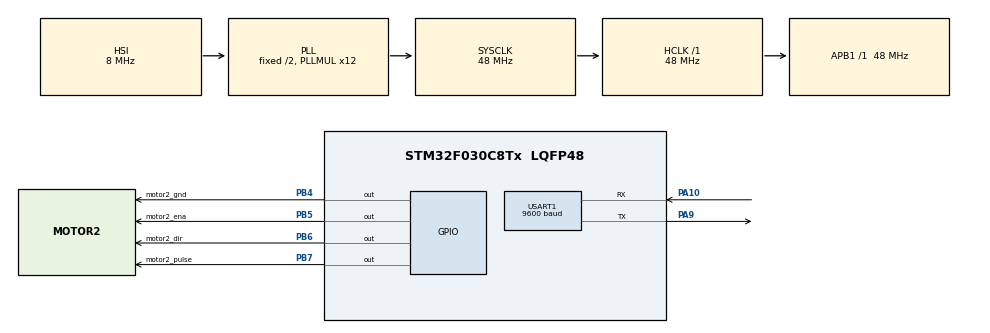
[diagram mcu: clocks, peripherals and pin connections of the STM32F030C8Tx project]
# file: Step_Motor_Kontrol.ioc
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Mcu.Family=STM32F0
Mcu.Name=STM32F030C8Tx
Mcu.Package=LQFP48
NVIC.USART1_IRQn=true\:3\:0\:true\:false\:true\:true\:true\:true
PA10.Mode=Asynchronous
PA10.Signal=USART1_RX
PA13.Mode=Serial_Wire
PA13.Signal=SYS_SWDIO
PA14.Mode=Serial_Wire
PA14.Signal=SYS_SWCLK
PA9.Mode=Asynchronous
PA9.Signal=USART1_TX
PB4.GPIO_Label=motor2_gnd
PB4.Signal=GPIO_Output
PB5.GPIO_Label=motor2_ena
PB5.Signal=GPIO_Output
PB6.GPIO_Label=motor2_dir
PB6.PinState=GPIO_PIN_SET
PB6.Signal=GPIO_Output
PB7.GPIO_Label=motor2_pulse
PB7.Signal=GPIO_Output
ProjectManager.HeapSize=0x200
ProjectManager.StackSize=0x400
ProjectManager.TargetToolchain=STM32CubeIDE
RCC.AHBFreq_Value=48000000
RCC.APB1Freq_Value=48000000
RCC.APB1TimFreq_Value=48000000
RCC.HCLKFreq_Value=48000000
RCC.PLLMUL=RCC_PLL_MUL12
RCC.SYSCLKFreq_VALUE=48000000
RCC.SYSCLKSource=RCC_SYSCLKSOURCE_PLLCLK
USART1.BaudRate=9600
USART1.VirtualMode-Asynchronous=VM_ASYNC
board=custom

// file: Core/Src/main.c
/* USER CODE BEGIN Header */
/**
  ******************************************************************************
  * @file           : main.c
  * @brief          : Main program body
  ******************************************************************************
  * @attention
  *
  * Copyright (c) 2024 STMicroelectronics.
  * All rights reserved.
  *
  * This software is licensed under terms that can be found in the LICENSE file
  * in the root directory of this software component.
  * If no LICENSE file comes with this software, it is provided AS-IS.
  *
  ******************************************************************************
  */
/* USER CODE END Header */
#include "main.h"

/* USER CODE BEGIN Includes */
#include "stdio.h"
/* USER CODE END Includes */

UART_HandleTypeDef huart1;

/* USER CODE BEGIN PV */
uint8_t rx_data[5];
uint8_t rx_index = 0;
uint8_t state = 0;
/* USER CODE END PV */

void SystemClock_Config(void);
static void MX_GPIO_Init(void);
static void MX_USART1_UART_Init(void);

/* USER CODE BEGIN 0 */
uint16_t convertBufferToUint16(uint8_t buffer[5]) {
    uint16_t result = 0;
    for (int i = 1; i < 5; i++) {
    	result = result * 10 + (buffer[i] - 48);
    }
    return result;
}

void turnMotor(uint32_t val, uint8_t dir) {
	HAL_GPIO_WritePin(GPIOB, motor2_ena_Pin, GPIO_PIN_RESET);
	if(dir == 49) {
		HAL_GPIO_WritePin(GPIOB, motor2_dir_Pin, GPIO_PIN_SET);
	}
	else {
		HAL_GPIO_WritePin(GPIOB, motor2_dir_Pin, GPIO_PIN_RESET);
	}
    for (int i = 0; i < val; i++) {
    	HAL_GPIO_WritePin(GPIOB, motor2_pulse_Pin, GPIO_PIN_SET);
    	HAL_Delay(1);
    	HAL_GPIO_WritePin(GPIOB, motor2_pulse_Pin, GPIO_PIN_RESET);
		HAL_Delay(1);
	}
	HAL_GPIO_WritePin(GPIOB, motor2_ena_Pin, GPIO_PIN_SET);

	char tx_data[] = "OK\n";
	HAL_UART_Transmit(&huart1, (uint8_t*)tx_data, sizeof(tx_data) - 1, HAL_MAX_DELAY);
	HAL_Delay(1000);
}

void HAL_UART_RxCpltCallback(UART_HandleTypeDef *huart)
{
  if (huart->Instance == USART1)
  {
    rx_index++; // Bir sonraki byte için indeksi artır
    if (rx_index >= 5)
    {
    	state = 1;
        rx_index = 0; // İndeksi sıfırla, bir sonraki alım için hazırla
    }
    HAL_UART_Receive_IT(&huart1, &rx_data[rx_index], 1); // Bir sonraki byte için alımı başlat
  }
}
/* USER CODE END 0 */

int main(void)
{

  /* MCU Configuration--------------------------------------------------------*/

  /* Reset of all peripherals, Initializes the Flash interface and the Systick. */
  HAL_Init();

  /* Configure the system clock */
  SystemClock_Config();

  /* Initialize all configured peripherals */
  MX_GPIO_Init();
  MX_USART1_UART_Init();
  /* USER CODE BEGIN 2 */
  HAL_UART_Receive_IT(&huart1, &rx_data[rx_index], 1);
  /* USER CODE END 2 */

  /* Infinite loop */
  /* USER CODE BEGIN WHILE */
  while (1)
  {
	  while(!state);
	  state = 0;
	  turnMotor(convertBufferToUint16(rx_data), rx_data[0]);
    /* USER CODE END WHILE */

  }
}

void SystemClock_Config(void)
{
  RCC_OscInitTypeDef RCC_OscInitStruct = {0};
  RCC_ClkInitTypeDef RCC_ClkInitStruct = {0};
  RCC_PeriphCLKInitTypeDef PeriphClkInit = {0};

  /** Initializes the RCC Oscillators according to the specified parameters
  * in the RCC_OscInitTypeDef structure.
  */
  RCC_OscInitStruct.OscillatorType = RCC_OSCILLATORTYPE_HSI;
  RCC_OscInitStruct.HSIState = RCC_HSI_ON;
  RCC_OscInitStruct.HSICalibrationValue = RCC_HSICALIBRATION_DEFAULT;
  RCC_OscInitStruct.PLL.PLLState = RCC_PLL_ON;
  RCC_OscInitStruct.PLL.PLLSource = RCC_PLLSOURCE_HSI;
  RCC_OscInitStruct.PLL.PLLMUL = RCC_PLL_MUL12;
  RCC_OscInitStruct.PLL.PREDIV = RCC_PREDIV_DIV1;
  if (HAL_RCC_OscConfig(&RCC_OscInitStruct) != HAL_OK)
  {
    Error_Handler();
  }

  /** Initializes the CPU, AHB and APB buses clocks
  */
  RCC_ClkInitStruct.ClockType = RCC_CLOCKTYPE_HCLK|RCC_CLOCKTYPE_SYSCLK
                              |RCC_CLOCKTYPE_PCLK1;
  RCC_ClkInitStruct.SYSCLKSource = RCC_SYSCLKSOURCE_PLLCLK;
  RCC_ClkInitStruct.AHBCLKDivider = RCC_SYSCLK_DIV1;
  RCC_ClkInitStruct.APB1CLKDivider = RCC_HCLK_DIV1;

  if (HAL_RCC_ClockConfig(&RCC_ClkInitStruct, FLASH_LATENCY_1) != HAL_OK)
  {
    Error_Handler();
  }
  PeriphClkInit.PeriphClockSelection = RCC_PERIPHCLK_USART1;
  PeriphClkInit.Usart1ClockSelection = RCC_USART1CLKSOURCE_PCLK1;
  if (HAL_RCCEx_PeriphCLKConfig(&PeriphClkInit) != HAL_OK)
  {
    Error_Handler();
  }
}

static void MX_USART1_UART_Init(void)
{

  huart1.Instance = USART1;
  huart1.Init.BaudRate = 9600;
  huart1.Init.WordLength = UART_WORDLENGTH_8B;
  huart1.Init.StopBits = UART_STOPBITS_1;
  huart1.Init.Parity = UART_PARITY_NONE;
  huart1.Init.Mode = UART_MODE_TX_RX;
  huart1.Init.HwFlowCtl = UART_HWCONTROL_NONE;
  huart1.Init.OverSampling = UART_OVERSAMPLING_16;
  huart1.Init.OneBitSampling = UART_ONE_BIT_SAMPLE_DISABLE;
  huart1.AdvancedInit.AdvFeatureInit = UART_ADVFEATURE_NO_INIT;
  if (HAL_UART_Init(&huart1) != HAL_OK)
  {
    Error_Handler();
  }

}

static void MX_GPIO_Init(void)
{
  GPIO_InitTypeDef GPIO_InitStruct = {0};

  /* GPIO Ports Clock Enable */
  __HAL_RCC_GPIOA_CLK_ENABLE();
  __HAL_RCC_GPIOB_CLK_ENABLE();

  /*Configure GPIO pin Output Level */
  HAL_GPIO_WritePin(GPIOB, motor2_gnd_Pin|motor2_ena_Pin|motor2_pulse_Pin, GPIO_PIN_RESET);

  /*Configure GPIO pin Output Level */
  HAL_GPIO_WritePin(motor2_dir_GPIO_Port, motor2_dir_Pin, GPIO_PIN_SET);

  /*Configure GPIO pins : motor2_gnd_Pin motor2_ena_Pin motor2_dir_Pin motor2_pulse_Pin */
  GPIO_InitStruct.Pin = motor2_gnd_Pin|motor2_ena_Pin|motor2_dir_Pin|motor2_pulse_Pin;
  GPIO_InitStruct.Mode = GPIO_MODE_OUTPUT_PP;
  GPIO_InitStruct.Pull = GPIO_NOPULL;
  GPIO_InitStruct.Speed = GPIO_SPEED_FREQ_LOW;
  HAL_GPIO_Init(GPIOB, &GPIO_InitStruct);

}

void Error_Handler(void)
{
  __disable_irq();
  while (1)
  {
  }
}
